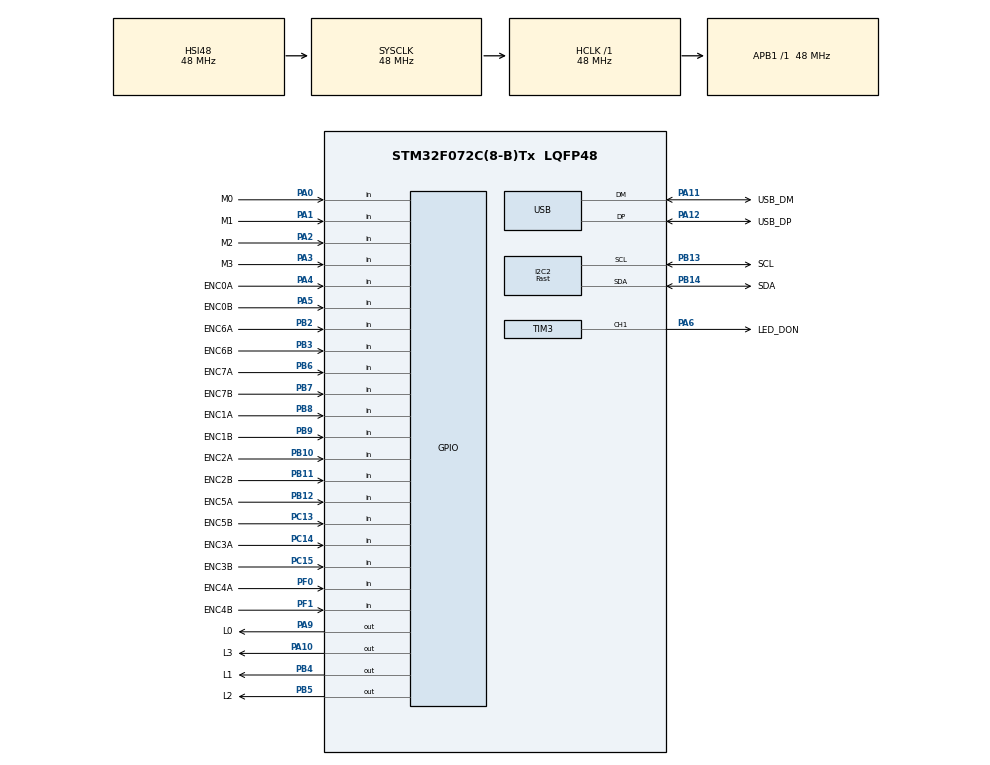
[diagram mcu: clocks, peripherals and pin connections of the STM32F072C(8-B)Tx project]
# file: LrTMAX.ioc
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Dma.I2C2_TX.1.Direction=DMA_MEMORY_TO_PERIPH
Dma.I2C2_TX.1.Instance=DMA1_Channel4
Dma.I2C2_TX.1.MemDataAlignment=DMA_MDATAALIGN_BYTE
Dma.I2C2_TX.1.MemInc=DMA_MINC_ENABLE
Dma.I2C2_TX.1.Mode=DMA_NORMAL
Dma.I2C2_TX.1.PeriphDataAlignment=DMA_PDATAALIGN_WORD
Dma.I2C2_TX.1.PeriphInc=DMA_PINC_DISABLE
Dma.I2C2_TX.1.Priority=DMA_PRIORITY_MEDIUM
Dma.Request0=TIM3_CH1/TRIG
Dma.Request1=I2C2_TX
Dma.TIM3_CH1/TRIG.0.Direction=DMA_MEMORY_TO_PERIPH
Dma.TIM3_CH1/TRIG.0.Instance=DMA1_Channel6
Dma.TIM3_CH1/TRIG.0.MemDataAlignment=DMA_MDATAALIGN_HALFWORD
Dma.TIM3_CH1/TRIG.0.MemInc=DMA_MINC_ENABLE
Dma.TIM3_CH1/TRIG.0.Mode=DMA_NORMAL
Dma.TIM3_CH1/TRIG.0.PeriphDataAlignment=DMA_PDATAALIGN_HALFWORD
Dma.TIM3_CH1/TRIG.0.PeriphInc=DMA_PINC_DISABLE
Dma.TIM3_CH1/TRIG.0.Priority=DMA_PRIORITY_LOW
I2C2.Analog_Filter=I2C_ANALOGFILTER_ENABLE
I2C2.I2C_Fall_Time=100
I2C2.I2C_Rise_Time=100
I2C2.I2C_Speed_Mode=I2C_Fast
I2C2.Timing=0x0090194B
Mcu.Family=STM32F0
Mcu.Name=STM32F072C(8-B)Tx
Mcu.Package=LQFP48
Mcu.UserConstants=TIM_PERIOD_NPIX,279;Lr_PRODUCT,"LrTMAX";PWM_HI,38;TIM_PERIOD_RGBLED,24576;PWM_LO,15;PWM_PERIOD,59;Lr_PID,0xA380;TIM_PERIOD_ENC,1600;TIM_PRESC_100uS,4799;Lr_VENDOR,"Ruffles Inc.";TIM_PRESC_1uS,47;TIM_PERIOD_MATRIX,7999;TIM_PERIOD_OLED,32767
NVIC.DMA1_Channel4_5_6_7_IRQn=true\:0\:0\:false\:false\:true\:false\:true\:true
NVIC.I2C2_IRQn=true\:0\:0\:false\:false\:true\:true\:true\:true
NVIC.TIM1_BRK_UP_TRG_COM_IRQn=true\:0\:0\:false\:false\:true\:true\:true\:true
NVIC.TIM2_IRQn=true\:0\:0\:false\:false\:true\:true\:true\:true
NVIC.TIM6_DAC_IRQn=true\:0\:0\:false\:false\:true\:true\:true\:true
NVIC.TIM7_IRQn=true\:0\:0\:false\:false\:true\:true\:true\:true
NVIC.USB_IRQn=true\:0\:0\:false\:false\:true\:false\:true\:true
PA0.GPIO_Label=M0
PA0.Signal=GPIO_Input
PA1.GPIO_Label=M1
PA1.Signal=GPIO_Input
PA10.GPIO_Label=L3
PA10.Signal=GPIO_Output
PA11.GPIO_Label=USB_DM
PA11.Mode=Device
PA11.Signal=USB_DM
PA12.GPIO_Label=USB_DP
PA12.Mode=Device
PA12.Signal=USB_DP
PA13.GPIO_Label=SWDIO
PA13.Mode=Serial_Wire
PA13.Signal=SYS_SWDIO
PA14.GPIO_Label=SWCLK
PA14.Mode=Serial_Wire
PA14.Signal=SYS_SWCLK
PA2.GPIO_Label=M2
PA2.Signal=GPIO_Input
PA3.GPIO_Label=M3
PA3.Signal=GPIO_Input
PA4.GPIO_Label=ENC0A
PA4.Signal=GPIO_Input
PA5.GPIO_Label=ENC0B
PA5.Signal=GPIO_Input
PA6.GPIO_Label=LED_DON
PA6.Signal=S_TIM3_CH1
PA9.GPIO_Label=L0
PA9.Signal=GPIO_Output
PB10.GPIO_Label=ENC2A
PB10.Signal=GPIO_Input
PB11.GPIO_Label=ENC2B
PB11.Signal=GPIO_Input
PB12.GPIO_Label=ENC5A
PB12.Signal=GPIO_Input
PB13.GPIO_Label=SCL
PB13.GPIO_Pu=GPIO_PULLUP
PB13.Mode=I2C
PB13.Signal=I2C2_SCL
PB14.GPIO_Label=SDA
PB14.GPIO_Pu=GPIO_PULLUP
PB14.Mode=I2C
PB14.Signal=I2C2_SDA
PB2.GPIO_Label=ENC6A
PB2.Signal=GPIO_Input
PB3.GPIO_Label=ENC6B
PB3.Signal=GPIO_Input
PB4.GPIO_Label=L1
PB4.Signal=GPIO_Output
PB5.GPIO_Label=L2
PB5.Signal=GPIO_Output
PB6.GPIO_Label=ENC7A
PB6.Signal=GPIO_Input
PB7.GPIO_Label=ENC7B
PB7.Signal=GPIO_Input
PB8.GPIO_Label=ENC1A
PB8.Signal=GPIO_Input
PB9.GPIO_Label=ENC1B
PB9.Signal=GPIO_Input
PC13.GPIO_Label=ENC5B
PC13.Signal=GPIO_Input
PC14-OSC32_IN.GPIO_Label=ENC3A
PC14-OSC32_IN.Signal=GPIO_Input
PC15-OSC32_OUT.GPIO_Label=ENC3B
PC15-OSC32_OUT.Signal=GPIO_Input
PF0-OSC_IN.GPIO_Label=ENC4A
PF0-OSC_IN.Signal=GPIO_Input
PF1-OSC_OUT.GPIO_Label=ENC4B
PF1-OSC_OUT.Signal=GPIO_Input
ProjectManager.HeapSize=0x200
ProjectManager.StackSize=0x400
ProjectManager.TargetToolchain=STM32CubeIDE
RCC.AHBFreq_Value=48000000
RCC.APB1Freq_Value=48000000
RCC.APB1TimFreq_Value=48000000
RCC.FLatency=FLASH_LATENCY_1
RCC.HCLKFreq_Value=48000000
RCC.SYSCLKFreq_VALUE=48000000
RCC.SYSCLKSource=RCC_SYSCLKSOURCE_HSI48
SH.S_TIM3_CH1.0=TIM3_CH1,PWM Generation1 CH1
TIM1.AutoReloadPreload=TIM_AUTORELOAD_PRELOAD_DISABLE
TIM1.ClockDivision=TIM_CLOCKDIVISION_DIV1
TIM1.CounterMode=TIM_COUNTERMODE_UP
TIM1.Period=TIM_PERIOD_MATRIX
TIM1.Prescaler=TIM_PRESC_1uS
TIM1.RepetitionCounter=0
TIM1.TIM_MasterOutputTrigger=TIM_TRGO_RESET
TIM1.TIM_MasterSlaveMode=TIM_MASTERSLAVEMODE_DISABLE
TIM14.AutoReloadPreload=TIM_AUTORELOAD_PRELOAD_DISABLE
TIM14.ClockDivision=TIM_CLOCKDIVISION_DIV1
TIM14.CounterMode=TIM_COUNTERMODE_UP
TIM14.Period=TIM_PERIOD_NPIX
TIM14.Prescaler=TIM_PRESC_1uS
TIM2.Period=TIM_PERIOD_ENC
TIM2.Prescaler=TIM_PRESC_1uS
TIM3.AutoReloadPreload=TIM_AUTORELOAD_PRELOAD_ENABLE
TIM3.Channel-PWM\ Generation1\ CH1=TIM_CHANNEL_1
TIM3.ClockDivision=TIM_CLOCKDIVISION_DIV1
TIM3.CounterMode=TIM_COUNTERMODE_UP
TIM3.OCPolarity_1=TIM_OCPOLARITY_LOW
TIM3.Period=PWM_PERIOD
TIM3.Prescaler=0
TIM3.TIM_MasterOutputTrigger=TIM_TRGO_RESET
TIM3.TIM_MasterSlaveMode=TIM_MASTERSLAVEMODE_DISABLE
TIM6.Period=TIM_PERIOD_RGBLED
TIM6.Prescaler=TIM_PRESC_1uS
TIM7.Period=TIM_PERIOD_OLED
TIM7.Prescaler=TIM_PRESC_1uS
USB.DeviceSpeed=PCD_SPEED_FULL
USB.low_power_enable=DISABLE
USB.lpm_enable=DISABLE
USB.phy_itface=PCD_PHY_EMBEDDED
USB_DEVICE.CLASS_NAME_FS=HID
USB_DEVICE.CONFIGURATION_STRING_HID_FS=MIDI Config
USB_DEVICE.INTERFACE_STRING_HID_FS=MIDI Interface
USB_DEVICE.LANGID_STRING=1033
USB_DEVICE.MANUFACTURER_STRING=Lr_VENDOR
USB_DEVICE.PID_HID_FS=Lr_PID
USB_DEVICE.PRODUCT_STRING_HID_FS=Lr_PRODUCT
USB_DEVICE.USBD_DEBUG_LEVEL=0
USB_DEVICE.USBD_MAX_NUM_CONFIGURATION=1
USB_DEVICE.USBD_MAX_NUM_INTERFACES=1
USB_DEVICE.USBD_MAX_STR_DESC_SIZ=512
USB_DEVICE.USBD_SELF_POWERED=0
USB_DEVICE.USBD_SUPPORT_USER_STRING=0
USB_DEVICE.VID=1155
USB_DEVICE.VirtualMode=Hid
USB_DEVICE.VirtualModeFS=Hid_FS
VP_TIM14_VS_ClockSourceINT.Mode=Enable_Timer
VP_TIM1_VS_ClockSourceINT.Mode=Internal
VP_TIM2_VS_ClockSourceINT.Mode=Internal
VP_TIM3_VS_ClockSourceINT.Mode=Internal
VP_TIM6_VS_ClockSourceINT.Mode=Enable_Timer
VP_TIM7_VS_ClockSourceINT.Mode=Enable_Timer
VP_USB_DEVICE_VS_USB_DEVICE_HID_FS.Mode=HID_FS
board=custom

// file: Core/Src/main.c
/* USER CODE BEGIN Header */
/**
  ******************************************************************************
  * @file		main.c
  * @brief		Main program body
  * @author		remov-b4-flight
  * @copyright	3-Clause BSD License
  ******************************************************************************
  * @attention
  *
  * Copyright (c) 2024 STMicroelectronics.
  * All rights reserved.
  *
  * This software is licensed under terms that can be found in the LICENSE file
  * in the root directory of this software component.
  * If no LICENSE file comes with this software, it is provided AS-IS.
  *
  ******************************************************************************
  */
/* USER CODE END Header */
#include "main.h"
#include "usb_device.h"

/* USER CODE BEGIN Includes */
#include <stdbool.h>
#include "LrCommon.h"
#include "midi.h"
#include "led.h"
#include "bitcount.h"
#include "usbd_midi_if.h"
#include "ssd1306.h"
#include "EmulateMIDI.h"
#include "stm32f0xx_it.h"
#include "stm32f0xx_hal_dma.h"
#include "opr_define.h"
/* USER CODE END Includes */

/* USER CODE BEGIN PD */
//! Version message on connect
#ifdef DEBUG
#define CONN_MSG_D	"%s %2x.%02xD"
#else
#define CONN_MSG	"%2x.%02x"
#endif
//! Position of version info on OLED banner
#define BANNER_VER_X	(SSD1306_WIDTH - (FONT_WIDTH * 4)) // 4 is length of CONN_MSG
#define BANNER_VER_Y	((SSD1306_HEIGHT / 2) + (FONT_HEIGHT / 4))

/* USER CODE END PD */

/* USER CODE BEGIN PM */
extern	uint8_t	LED_Scene[SCENE_COUNT][LED_COUNT];
extern	uint8_t	LEDColor[LED_COUNT];
extern	uint8_t	LEDTimer[LED_COUNT];
extern	char	Msg_Buffer[MSG_LINES][MSG_WIDTH+1];
/* USER CODE END PM */

I2C_HandleTypeDef hi2c2;
DMA_HandleTypeDef hdma_i2c2_tx;

TIM_HandleTypeDef htim1;
TIM_HandleTypeDef htim2;
TIM_HandleTypeDef htim3;
TIM_HandleTypeDef htim6;
TIM_HandleTypeDef htim7;
TIM_HandleTypeDef htim14;
DMA_HandleTypeDef hdma_tim3_ch1_trig;

/* USER CODE BEGIN PV */

//! STM32 TIM3 instance handle
TIM_HandleTypeDef htim3;
//! LrTMAX USB connection state
uint8_t	LrState;
//! LrTMAX Scene index
uint8_t	LrScene;
//! In key scanning whether Line selected to read for key matrix.
uint8_t	ENCSW_Line;
// OLED variables
//! Flag set by timer ISR, It makes 'off' OLES contents.
bool 	Msg_Timer_Update;
//! Timer counter ticked by TIM7.
int32_t	Msg_Timer_Count;
//! If true Msg_Timer counting is enabled.
bool	Msg_Timer_Enable;
//! If true, Screen is cleared in main() that is determined on timer interrupt.
bool	Msg_Off_Flag;
//! If true, Screen is flashed by [] at main() function.
static	bool	isMsgFlash;
//! If true, frame_buffer[] contents flashes the screen.
static	bool	isRender;

//! LED variables
//! If true, LEDs are flashed by LEDColor[] array.
bool	isLEDsendpulse;
//! Flag is set by timer ISR, It makes LED_Timer[] count up in main()
bool	LED_Timer_Update;

//! Scene time out
bool	isScene_Timeout;
/* USER CODE END PV */

void SystemClock_Config(void);
static void MX_GPIO_Init(void);
static void MX_DMA_Init(void);
static void MX_TIM3_Init(void);
static void MX_TIM1_Init(void);
static void MX_TIM14_Init(void);
static void MX_I2C2_Init(void);
static void MX_TIM7_Init(void);
static void MX_TIM6_Init(void);
static void MX_TIM2_Init(void);
/* USER CODE BEGIN PFP */
void Jump2SystemMemory();
/* USER CODE END PFP */

/* USER CODE BEGIN 0 */

/**
 *	@brief	Stop encoder scan
 */
static inline void Stop_All_Encoders() {
	HAL_TIM_Base_Stop_IT(&htim2);
}

/**
 * @brief	Start encoder scan by timer
 */
static inline void Start_All_Encoders() {
	ENC_Init();
	HAL_TIM_Base_Start_IT(&htim2);
}

/**
 * @brief Start OLED off timer
*/
void Start_MsgTimer(uint32_t tick){
	Msg_Off_Flag = false;
	Msg_Timer_Count = tick;
	Msg_Timer_Enable = true;
}
/**
 * @brief	raise flag to message flash
 */
inline void Msg_Print() {
	isMsgFlash = true;
}

/**
 * @brief start/stop matrix L0-L3 control
 * @param control Lr_MATRIX_START / Lr_MATRIX_STOP
 */
static void Matrix_Control(uint8_t control) {
	if (control == Lr_MATRIX_START) {
		MTRX_Init();
	}

	HAL_GPIO_WritePin(L0_GPIO_Port, L0_Pin, (control == Lr_MATRIX_START)? GPIO_PIN_SET : GPIO_PIN_RESET);
	HAL_GPIO_WritePin(L1_GPIO_Port, L1_Pin, GPIO_PIN_RESET);
	HAL_GPIO_WritePin(L2_GPIO_Port, L2_Pin, GPIO_PIN_RESET);
	HAL_GPIO_WritePin(L3_GPIO_Port, L3_Pin, GPIO_PIN_RESET);
	ENCSW_Line = L0;
}
/* USER CODE END 0 */

int main(void)
{

  /* USER CODE BEGIN 1 */
	//! Indicates 1st Msg_Timer timeout has occurred from power on reset.
	bool Msg_1st_timeout = true;
  /* USER CODE END 1 */

  /* MCU Configuration--------------------------------------------------------*/

  /* Reset of all peripherals, Initializes the Flash interface and the Systick. */
  HAL_Init();

  /* USER CODE BEGIN Init */
	Msg_Off_Flag = false;
	Msg_Timer_Enable = false;
	Msg_Timer_Count = MSG_TIMER_DEFAULT;
	isMsgFlash = false;
	isRender = true;

	LrState = LR_RESET;
	LrScene = Lr_SCENE0;

	isLEDsendpulse = false;
	Msg_Timer_Update = false;
	LED_Timer_Update = false;
	isScene_Timeout = false;
  /* USER CODE END Init */

  /* Configure the system clock */
  SystemClock_Config();

  /* Initialize all configured peripherals */
  MX_GPIO_Init();
  MX_DMA_Init();
  MX_TIM3_Init();
  MX_TIM1_Init();
  MX_TIM14_Init();
/* USER CODE BEGIN MX_USB_Devive_Init LrTMAX*/
//  MX_USB_DEVICE_Init(); must be delayed.
/* USER CODE END MX_USB_Devive_Init LrTMAX*/
  MX_I2C2_Init();
  MX_TIM7_Init();
  MX_TIM6_Init();
  MX_TIM2_Init();
  /* USER CODE BEGIN 2 */
	// Set all LEDs to 'OFF'
	LED_Initialize();
	// Stop All Encoders until USB link up
	Stop_All_Encoders();
	//Initialize Switch matrix
	HAL_GPIO_WritePin(L0_GPIO_Port, L0_Pin, GPIO_PIN_SET);	// Initialize L0-3.

	// Initialize series of WS2812C
	GPIOA->PUPDR |= GPIO_PUPDR_PUPDR6_0;	// Pull up PA6 (WS2812C-2020 workaround)
	GPIOA->ODR |= GPIO_PIN_6;				//'RESET' state
	//AF -> GPIO
	GPIOA->MODER &= ~(GPIO_MODER_MODER6_1);
	GPIOA->MODER |=	GPIO_MODER_MODER6_0;

	//Initialize SSD1306 OLED
	HAL_Delay(SSD1306_PWRUP_WAIT);		//Wait for OLED module power up.
	SSD1306_Initialize();
  /* USER CODE END 2 */

  /* Infinite loop */
  /* USER CODE BEGIN WHILE */
	uint32_t	nc_count = 0;

	HAL_TIM_Base_Start_IT(&htim6);		//Start LED timer.
	HAL_TIM_Base_Start_IT(&htim7);		//Start Message timer.
	Start_MsgTimer(MSG_TIMER_DEFAULT);

	// Check SW1 and SW3 is pushed at Power On
	if ((GPIOA->IDR & SWMASK) == SWMASK ) {
		LrState = LR_USB_DFU;
	} else {
		// MX_USB_DEVICE_Init() must be delayed until here for launch DFU.
		MX_USB_DEVICE_Init();
		LrState = LR_USB_NOLINK;
	}

	// Initialize CC Value table
	EmulateMIDI_Init();

	// LED Initialize
	LED_SetScene(LrScene);

	// Main loop
	while (1) {
		if (LrState == LR_USB_LINKUP) {
			// USB device configured by host
			SSD1306_SetScreen(ON);

			Matrix_Control(Lr_MATRIX_START);	// Initialize L0-3.
			HAL_TIM_Base_Start_IT(&htim1);		// Start Switch matrix timer.
			Start_All_Encoders();				// Start rotary encoder.

			// Connection banner
	#ifdef DEBUG
			sprintf(Msg_Buffer[Lr_OLED_TOP], CONN_MSG_D, Lr_PRODUCT, HIBYTE(USBD_DEVICE_VER), LOBYTE(USBD_DEVICE_VER));
			memset(Msg_Buffer[Lr_OLED_BOTTOM], (int)SPACE_CHAR, MSG_WIDTH );
			Msg_Print();
	#else
			SSD1306_LoadBitmap();
			sprintf(Msg_Buffer[Lr_OLED_TOP], CONN_MSG, HIBYTE(USBD_DEVICE_VER), LOBYTE(USBD_DEVICE_VER));
			SSD1306_RenderBanner(Msg_Buffer[Lr_OLED_TOP], BANNER_VER_X, BANNER_VER_Y);
			SSD1306_FlashScreen();
			memset(Msg_Buffer[Lr_OLED_TOP], (int)SPACE_CHAR, MSG_WIDTH );
	#endif
			Start_MsgTimer(MSG_TIMER_CONNECT);
			memcpy(LEDColor, LED_Scene[LrScene], LED_COUNT);
			LED_SetPulse(LED_IDX_ENC0, LED_PINK, LED_TIM_CONNECT);
			LrState = LR_USB_LINKED;

		} else if (LrState == LR_USB_LINKED) {
			// Operate as MIDI Instruments.
			EmulateMIDI();
		} else if (LrState == LR_USB_LINK_LOST) {
			Stop_All_Encoders();

			HAL_TIM_Base_Stop(&htim1);
			Matrix_Control(Lr_MATRIX_STOP);		// Stop L0-L3

			LED_TestPattern();
			Msg_1st_timeout = false;
			Start_MsgTimer(MSG_TIMER_DEFAULT);
			nc_count = 0;
			LrState = LR_USB_NOLINK;

		} else if (LrState == LR_USB_NOLINK) {
			// USB can't be configured or disconnected by host.
			if (Msg_Off_Flag == true) {
				if (Msg_1st_timeout == true) {
					LrState = LR_USB_LINK_LOST;
				} else { // 2nd or more
					sprintf(Msg_Buffer[Lr_OLED_TOP], "%12ld", nc_count++);
					SSD1306_SetScreen(ON);

					Msg_Print();

					// Restart OLED timer.
					Start_MsgTimer(MSG_TIMER_NOLINK);

					// Rotate LED colors
					uint8_t	tempcolor = LEDColor[7];
					LEDColor[7] = LEDColor[6];
					LEDColor[6] = LEDColor[5];
					LEDColor[5] = LEDColor[4];
					LEDColor[4] = LEDColor[3];
					LEDColor[3] = LEDColor[2];
					LEDColor[2] = LEDColor[1];
					LEDColor[1] = LEDColor[0];
					LEDColor[0] = tempcolor;

					isLEDsendpulse = true;
				}
			}// Msg_Off_Flag
		} else if (LrState == LR_USB_DFU) {
			if (Msg_Off_Flag == true) {
				if (nc_count == 0) {
					// Show DFU banner
					strcpy(Msg_Buffer[0], DFU_MSG);
					SSD1306_SetScreen(ON);
					Msg_Print();
					nc_count++;
				} else if(nc_count == 1) {
					// Show LED pattern
					LED_TestPattern();
					nc_count++;
				} else if (nc_count <= 2) {
					LED_Initialize();
					// Jump to BOOTLOADER
					Jump2SystemMemory();
				}
				Start_MsgTimer(MSG_TIMER_NOLINK/2);
			}

		}// LrState

		// LED Timer
		if (LED_Timer_Update == true) { // 24ms interval
			for (uint8_t i = 0; i < LED_COUNT; i++) {
				if (LEDTimer[i] != LED_TIMER_CONSTANT && --LEDTimer[i] == 0) {
					LED_SetPulse(i, LED_Scene[LrScene][i], LED_TIMER_CONSTANT);
				}
			}
			LED_Timer_Update = false;
			continue;
		}

		// Flashing LEDs
		if (isLEDsendpulse == true) {
			if (LED_SendPulse() == true) {
				isLEDsendpulse = false;
			} else {
				HAL_Delay(LED_TIM_RETRY_WAIT);	// i2c is busy, retry with interval
			}
			continue;
		}

		// OLED timer
		if (Msg_Timer_Update == true) {	//32.7ms interval
			if (Msg_Timer_Enable == true && (--Msg_Timer_Count) <= 0) {
				Msg_Timer_Enable = false;
				Msg_Off_Flag = true;
			}
			Msg_Timer_Update = false;
			continue;
		}

		// OLED off Timer
		if (Msg_Off_Flag == true) {
			Msg_Off_Flag = false;
			SSD1306_SetScreen(OFF);
			SSD1306_ClearBuffer();
			memset(Msg_Buffer[Lr_OLED_TOP], (int)SPACE_CHAR, MSG_WIDTH );
			memset(Msg_Buffer[Lr_OLED_BOTTOM], (int)SPACE_CHAR, MSG_WIDTH );
			continue;
		}

		// Flashing OLED display.
		if (isMsgFlash == true) {
			if (isRender == true) {
				SSD1306_Render2Buffer();
				isRender = false;
			}
			if (SSD1306_FlashScreen() == true) {
				isMsgFlash = false;	// success to flash
				isRender = true;
			} else {
				HAL_Delay(I2C_RETRY_WAIT);	// i2c is busy, retry with interval
			}
			continue;
		}

		HAL_PWR_EnterSLEEPMode(PWR_LOWPOWERREGULATOR_ON, PWR_SLEEPENTRY_WFI);

    /* USER CODE END WHILE */

  }
}

void SystemClock_Config(void)
{
  RCC_OscInitTypeDef RCC_OscInitStruct = {0};
  RCC_ClkInitTypeDef RCC_ClkInitStruct = {0};
  RCC_PeriphCLKInitTypeDef PeriphClkInit = {0};

  /** Initializes the RCC Oscillators according to the specified parameters
  * in the RCC_OscInitTypeDef structure.
  */
  RCC_OscInitStruct.OscillatorType = RCC_OSCILLATORTYPE_HSI48;
  RCC_OscInitStruct.HSI48State = RCC_HSI48_ON;
  RCC_OscInitStruct.PLL.PLLState = RCC_PLL_NONE;
  if (HAL_RCC_OscConfig(&RCC_OscInitStruct) != HAL_OK)
  {
    Error_Handler();
  }

  /** Initializes the CPU, AHB and APB buses clocks
  */
  RCC_ClkInitStruct.ClockType = RCC_CLOCKTYPE_HCLK|RCC_CLOCKTYPE_SYSCLK
                              |RCC_CLOCKTYPE_PCLK1;
  RCC_ClkInitStruct.SYSCLKSource = RCC_SYSCLKSOURCE_HSI48;
  RCC_ClkInitStruct.AHBCLKDivider = RCC_SYSCLK_DIV1;
  RCC_ClkInitStruct.APB1CLKDivider = RCC_HCLK_DIV1;

  if (HAL_RCC_ClockConfig(&RCC_ClkInitStruct, FLASH_LATENCY_1) != HAL_OK)
  {
    Error_Handler();
  }
  PeriphClkInit.PeriphClockSelection = RCC_PERIPHCLK_USB;
  PeriphClkInit.UsbClockSelection = RCC_USBCLKSOURCE_HSI48;

  if (HAL_RCCEx_PeriphCLKConfig(&PeriphClkInit) != HAL_OK)
  {
    Error_Handler();
  }
}

static void MX_I2C2_Init(void)
{

  hi2c2.Instance = I2C2;
  hi2c2.Init.Timing = 0x0090194B;
  hi2c2.Init.OwnAddress1 = 0;
  hi2c2.Init.AddressingMode = I2C_ADDRESSINGMODE_7BIT;
  hi2c2.Init.DualAddressMode = I2C_DUALADDRESS_DISABLE;
  hi2c2.Init.OwnAddress2 = 0;
  hi2c2.Init.OwnAddress2Masks = I2C_OA2_NOMASK;
  hi2c2.Init.GeneralCallMode = I2C_GENERALCALL_DISABLE;
  hi2c2.Init.NoStretchMode = I2C_NOSTRETCH_DISABLE;
  if (HAL_I2C_Init(&hi2c2) != HAL_OK)
  {
    Error_Handler();
  }

  /** Configure Analogue filter
  */
  if (HAL_I2CEx_ConfigAnalogFilter(&hi2c2, I2C_ANALOGFILTER_ENABLE) != HAL_OK)
  {
    Error_Handler();
  }

  /** Configure Digital filter
  */
  if (HAL_I2CEx_ConfigDigitalFilter(&hi2c2, 0) != HAL_OK)
  {
    Error_Handler();
  }

}

static void MX_TIM1_Init(void)
{

  TIM_ClockConfigTypeDef sClockSourceConfig = {0};
  TIM_MasterConfigTypeDef sMasterConfig = {0};

  htim1.Instance = TIM1;
  htim1.Init.Prescaler = TIM_PRESC_1uS;
  htim1.Init.CounterMode = TIM_COUNTERMODE_UP;
  htim1.Init.Period = TIM_PERIOD_MATRIX;
  htim1.Init.ClockDivision = TIM_CLOCKDIVISION_DIV1;
  htim1.Init.RepetitionCounter = 0;
  htim1.Init.AutoReloadPreload = TIM_AUTORELOAD_PRELOAD_DISABLE;
  if (HAL_TIM_Base_Init(&htim1) != HAL_OK)
  {
    Error_Handler();
  }
  sClockSourceConfig.ClockSource = TIM_CLOCKSOURCE_INTERNAL;
  if (HAL_TIM_ConfigClockSource(&htim1, &sClockSourceConfig) != HAL_OK)
  {
    Error_Handler();
  }
  sMasterConfig.MasterOutputTrigger = TIM_TRGO_RESET;
  sMasterConfig.MasterSlaveMode = TIM_MASTERSLAVEMODE_DISABLE;
  if (HAL_TIMEx_MasterConfigSynchronization(&htim1, &sMasterConfig) != HAL_OK)
  {
    Error_Handler();
  }

}

static void MX_TIM2_Init(void)
{

  TIM_ClockConfigTypeDef sClockSourceConfig = {0};
  TIM_MasterConfigTypeDef sMasterConfig = {0};

  htim2.Instance = TIM2;
  htim2.Init.Prescaler = TIM_PRESC_1uS;
  htim2.Init.CounterMode = TIM_COUNTERMODE_UP;
  htim2.Init.Period = TIM_PERIOD_ENC;
  htim2.Init.ClockDivision = TIM_CLOCKDIVISION_DIV1;
  htim2.Init.AutoReloadPreload = TIM_AUTORELOAD_PRELOAD_DISABLE;
  if (HAL_TIM_Base_Init(&htim2) != HAL_OK)
  {
    Error_Handler();
  }
  sClockSourceConfig.ClockSource = TIM_CLOCKSOURCE_INTERNAL;
  if (HAL_TIM_ConfigClockSource(&htim2, &sClockSourceConfig) != HAL_OK)
  {
    Error_Handler();
  }
  sMasterConfig.MasterOutputTrigger = TIM_TRGO_RESET;
  sMasterConfig.MasterSlaveMode = TIM_MASTERSLAVEMODE_DISABLE;
  if (HAL_TIMEx_MasterConfigSynchronization(&htim2, &sMasterConfig) != HAL_OK)
  {
    Error_Handler();
  }

}

static void MX_TIM3_Init(void)
{

  TIM_ClockConfigTypeDef sClockSourceConfig = {0};
  TIM_MasterConfigTypeDef sMasterConfig = {0};
  TIM_OC_InitTypeDef sConfigOC = {0};

  htim3.Instance = TIM3;
  htim3.Init.Prescaler = 0;
  htim3.Init.CounterMode = TIM_COUNTERMODE_UP;
  htim3.Init.Period = PWM_PERIOD;
  htim3.Init.ClockDivision = TIM_CLOCKDIVISION_DIV1;
  htim3.Init.AutoReloadPreload = TIM_AUTORELOAD_PRELOAD_ENABLE;
  if (HAL_TIM_Base_Init(&htim3) != HAL_OK)
  {
    Error_Handler();
  }
  sClockSourceConfig.ClockSource = TIM_CLOCKSOURCE_INTERNAL;
  if (HAL_TIM_ConfigClockSource(&htim3, &sClockSourceConfig) != HAL_OK)
  {
    Error_Handler();
  }
  if (HAL_TIM_PWM_Init(&htim3) != HAL_OK)
  {
    Error_Handler();
  }
  sMasterConfig.MasterOutputTrigger = TIM_TRGO_RESET;
  sMasterConfig.MasterSlaveMode = TIM_MASTERSLAVEMODE_DISABLE;
  if (HAL_TIMEx_MasterConfigSynchronization(&htim3, &sMasterConfig) != HAL_OK)
  {
    Error_Handler();
  }
  sConfigOC.OCMode = TIM_OCMODE_PWM1;
  sConfigOC.Pulse = 0;
  sConfigOC.OCPolarity = TIM_OCPOLARITY_LOW;
  sConfigOC.OCFastMode = TIM_OCFAST_DISABLE;
  if (HAL_TIM_PWM_ConfigChannel(&htim3, &sConfigOC, TIM_CHANNEL_1) != HAL_OK)
  {
    Error_Handler();
  }
  /* USER CODE BEGIN TIM3_Init 2 */
	__HAL_DMA_DISABLE_IT(&hdma_tim3_ch1_trig,(DMA_CCR_HTIE | DMA_CCR_TEIE));//Disable DMA1 half or error transfer interrupt(for LEDs).
  /* USER CODE END TIM3_Init 2 */
  HAL_TIM_MspPostInit(&htim3);

}

static void MX_TIM6_Init(void)
{

  TIM_MasterConfigTypeDef sMasterConfig = {0};

  htim6.Instance = TIM6;
  htim6.Init.Prescaler = TIM_PRESC_1uS;
  htim6.Init.CounterMode = TIM_COUNTERMODE_UP;
  htim6.Init.Period = TIM_PERIOD_RGBLED;
  htim6.Init.AutoReloadPreload = TIM_AUTORELOAD_PRELOAD_DISABLE;
  if (HAL_TIM_Base_Init(&htim6) != HAL_OK)
  {
    Error_Handler();
  }
  sMasterConfig.MasterOutputTrigger = TIM_TRGO_RESET;
  sMasterConfig.MasterSlaveMode = TIM_MASTERSLAVEMODE_DISABLE;
  if (HAL_TIMEx_MasterConfigSynchronization(&htim6, &sMasterConfig) != HAL_OK)
  {
    Error_Handler();
  }

}

static void MX_TIM7_Init(void)
{

  TIM_MasterConfigTypeDef sMasterConfig = {0};

  htim7.Instance = TIM7;
  htim7.Init.Prescaler = TIM_PRESC_1uS;
  htim7.Init.CounterMode = TIM_COUNTERMODE_UP;
  htim7.Init.Period = TIM_PERIOD_OLED;
  htim7.Init.AutoReloadPreload = TIM_AUTORELOAD_PRELOAD_DISABLE;
  if (HAL_TIM_Base_Init(&htim7) != HAL_OK)
  {
    Error_Handler();
  }
  sMasterConfig.MasterOutputTrigger = TIM_TRGO_RESET;
  sMasterConfig.MasterSlaveMode = TIM_MASTERSLAVEMODE_DISABLE;
  if (HAL_TIMEx_MasterConfigSynchronization(&htim7, &sMasterConfig) != HAL_OK)
  {
    Error_Handler();
  }

}

static void MX_TIM14_Init(void)
{

  htim14.Instance = TIM14;
  htim14.Init.Prescaler = TIM_PRESC_1uS;
  htim14.Init.CounterMode = TIM_COUNTERMODE_UP;
  htim14.Init.Period = TIM_PERIOD_NPIX;
  htim14.Init.ClockDivision = TIM_CLOCKDIVISION_DIV1;
  htim14.Init.AutoReloadPreload = TIM_AUTORELOAD_PRELOAD_DISABLE;
  if (HAL_TIM_Base_Init(&htim14) != HAL_OK)
  {
    Error_Handler();
  }
  /* USER CODE BEGIN TIM14_Init 2 */
  htim14.Instance->CR1 |= TIM_CR1_OPM;
  /* USER CODE END TIM14_Init 2 */

}

static void MX_DMA_Init(void)
{

  /* DMA controller clock enable */
  __HAL_RCC_DMA1_CLK_ENABLE();

  /* DMA interrupt init */
  /* DMA1_Channel4_5_6_7_IRQn interrupt configuration */
  HAL_NVIC_SetPriority(DMA1_Channel4_5_6_7_IRQn, 0, 0);
  HAL_NVIC_EnableIRQ(DMA1_Channel4_5_6_7_IRQn);

}

static void MX_GPIO_Init(void)
{
  GPIO_InitTypeDef GPIO_InitStruct = {0};

  /* GPIO Ports Clock Enable */
  __HAL_RCC_GPIOC_CLK_ENABLE();
  __HAL_RCC_GPIOF_CLK_ENABLE();
  __HAL_RCC_GPIOA_CLK_ENABLE();
  __HAL_RCC_GPIOB_CLK_ENABLE();

  /*Configure GPIO pin Output Level */
  HAL_GPIO_WritePin(GPIOA, L0_Pin|L3_Pin, GPIO_PIN_RESET);

  /*Configure GPIO pin Output Level */
  HAL_GPIO_WritePin(GPIOB, L1_Pin|L2_Pin, GPIO_PIN_RESET);

  /*Configure GPIO pins : ENC5B_Pin ENC3A_Pin ENC3B_Pin */
  GPIO_InitStruct.Pin = ENC5B_Pin|ENC3A_Pin|ENC3B_Pin;
  GPIO_InitStruct.Mode = GPIO_MODE_INPUT;
  GPIO_InitStruct.Pull = GPIO_NOPULL;
  HAL_GPIO_Init(GPIOC, &GPIO_InitStruct);

  /*Configure GPIO pins : ENC4A_Pin ENC4B_Pin */
  GPIO_InitStruct.Pin = ENC4A_Pin|ENC4B_Pin;
  GPIO_InitStruct.Mode = GPIO_MODE_INPUT;
  GPIO_InitStruct.Pull = GPIO_NOPULL;
  HAL_GPIO_Init(GPIOF, &GPIO_InitStruct);

  /*Configure GPIO pins : M0_Pin M1_Pin M2_Pin M3_Pin
                           ENC0A_Pin ENC0B_Pin */
  GPIO_InitStruct.Pin = M0_Pin|M1_Pin|M2_Pin|M3_Pin
                          |ENC0A_Pin|ENC0B_Pin;
  GPIO_InitStruct.Mode = GPIO_MODE_INPUT;
  GPIO_InitStruct.Pull = GPIO_NOPULL;
  HAL_GPIO_Init(GPIOA, &GPIO_InitStruct);

  /*Configure GPIO pins : ENC6A_Pin ENC2A_Pin ENC2B_Pin ENC5A_Pin
                           ENC6B_Pin ENC7A_Pin ENC7B_Pin ENC1A_Pin
                           ENC1B_Pin */
  GPIO_InitStruct.Pin = ENC6A_Pin|ENC2A_Pin|ENC2B_Pin|ENC5A_Pin
                          |ENC6B_Pin|ENC7A_Pin|ENC7B_Pin|ENC1A_Pin
                          |ENC1B_Pin;
  GPIO_InitStruct.Mode = GPIO_MODE_INPUT;
  GPIO_InitStruct.Pull = GPIO_NOPULL;
  HAL_GPIO_Init(GPIOB, &GPIO_InitStruct);

  /*Configure GPIO pins : L0_Pin L3_Pin */
  GPIO_InitStruct.Pin = L0_Pin|L3_Pin;
  GPIO_InitStruct.Mode = GPIO_MODE_OUTPUT_PP;
  GPIO_InitStruct.Pull = GPIO_NOPULL;
  GPIO_InitStruct.Speed = GPIO_SPEED_FREQ_LOW;
  HAL_GPIO_Init(GPIOA, &GPIO_InitStruct);

  /*Configure GPIO pins : L1_Pin L2_Pin */
  GPIO_InitStruct.Pin = L1_Pin|L2_Pin;
  GPIO_InitStruct.Mode = GPIO_MODE_OUTPUT_PP;
  GPIO_InitStruct.Pull = GPIO_NOPULL;
  GPIO_InitStruct.Speed = GPIO_SPEED_FREQ_LOW;
  HAL_GPIO_Init(GPIOB, &GPIO_InitStruct);

}

void Error_Handler(void)
{
  /* USER CODE BEGIN Error_Handler_Debug */
	/* User can add his own implementation to report the HAL error return state */
	__disable_irq();
	strcpy(Msg_Buffer[Lr_OLED_TOP], "Error");
	Msg_Print();
  /* USER CODE END Error_Handler_Debug */
}
